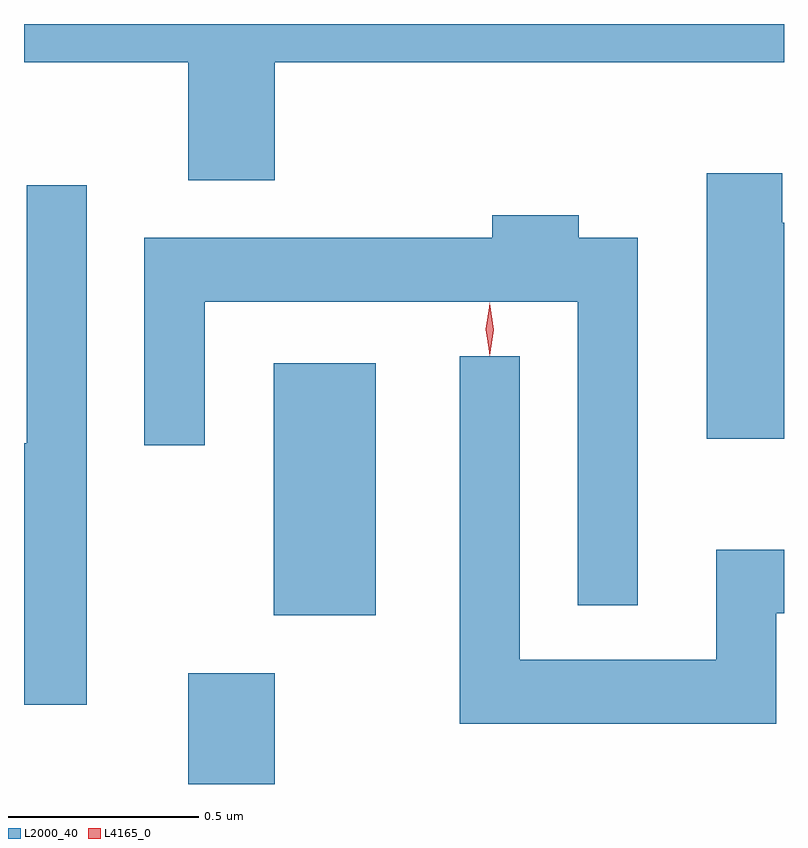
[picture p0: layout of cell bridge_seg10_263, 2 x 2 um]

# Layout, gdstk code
import gdstk
lib = gdstk.Library(unit=1e-6, precision=1e-09)
def R(c, l, rs):  # rectangles x0, y0, x1, y1
    for r in rs: c.add(gdstk.rectangle(r[:2], r[2:], *l))
def P(c, l, *ps):  # polygons
    for p in ps: c.add(gdstk.Polygon(p, *l))
L2000_40 = (2000, 40)
L4165_0 = (4165, 0)

bridge_seg10_263 = lib.new_cell('bridge_seg10_263')
R(bridge_seg10_263, L2000_40, [(1799.381,2100.917,1799.609,2101.209), (1799.606,2101.361,1799.874,2102.024)])
P(bridge_seg10_263, L2000_40, [(1799.609,2102.816),(1800.949,2102.816),(1800.949,2102.917),(1798.949,2102.917),(1798.949,2102.816),(1799.381,2102.816),(1799.381,2102.506),(1799.609,2102.506)],
  [(1800.949,2102.394),(1800.944,2102.394),(1800.944,2102.524),(1800.746,2102.524),(1800.746,2101.826),(1800.949,2101.826)],
  [(1799.114,2102.493),(1798.956,2102.493),(1798.956,2101.814),(1798.949,2101.814),(1798.949,2101.126),(1799.114,2101.126)],
  [(1800.564,2102.354),(1800.409,2102.354),(1800.409,2102.414),(1800.181,2102.414),(1800.181,2102.354),(1799.266,2102.354),(1799.266,2101.808),(1799.424,2101.808),(1799.424,2102.186),(1800.406,2102.186),(1800.406,2101.388),(1800.564,2101.388)],
  [(1800.929,2101.366),(1800.949,2101.366),(1800.949,2101.534),(1800.771,2101.534),(1800.771,2101.244),(1800.254,2101.244),(1800.254,2102.043),(1800.096,2102.043),(1800.096,2101.076),(1800.929,2101.076)])
P(bridge_seg10_263, L4165_0, [(1800.174,2102.047),(1800.174,2102.048),(1800.164,2102.114),(1800.174,2102.18),(1800.174,2102.18),(1800.175,2102.18),(1800.184,2102.114),(1800.175,2102.048)],
  [(1800.174,2102.044),(1800.165,2102.113),(1800.174,2102.182),(1800.175,2102.183),(1800.175,2102.182),(1800.185,2102.113),(1800.175,2102.044),(1800.175,2102.044)])

lib.write_gds('bridge_seg10_263.gds')
